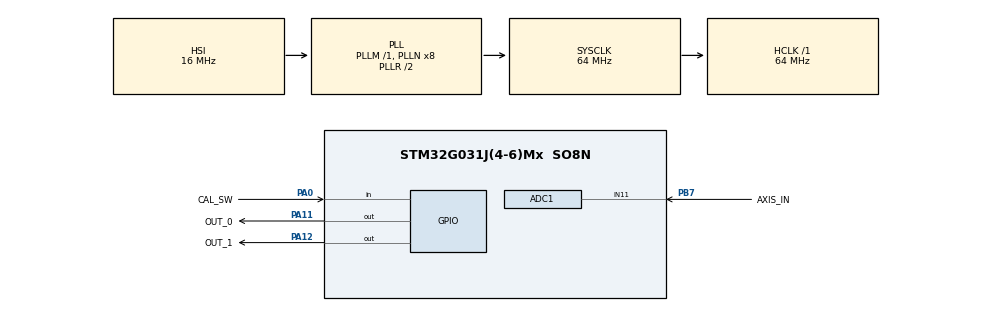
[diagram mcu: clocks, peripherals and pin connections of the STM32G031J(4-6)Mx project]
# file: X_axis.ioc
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ADC1.Channel-0\#ChannelRegularConversion=ADC_CHANNEL_11
ADC1.ContinuousConvMode=ENABLE
ADC1.NbrOfConversionFlag=1
ADC1.OversamplingMode=ENABLE
ADC1.Rank-0\#ChannelRegularConversion=1
ADC1.Ratio=ADC_OVERSAMPLING_RATIO_4
ADC1.RightBitShift=ADC_RIGHTBITSHIFT_2
ADC1.SamplingTime-0\#ChannelRegularConversion=ADC_SAMPLINGTIME_COMMON_1
ADC1.master=1
Mcu.Family=STM32G0
Mcu.Name=STM32G031J(4-6)Mx
Mcu.Package=SO8N
PA0.GPIO_Label=CAL_SW
PA0.Signal=GPIO_Input
PA11\ [PA9].GPIO_Label=OUT_0
PA11\ [PA9].Signal=GPIO_Output
PA12\ [PA10].GPIO_Label=OUT_1
PA12\ [PA10].Signal=GPIO_Output
PA13.Mode=Serial_Wire
PA13.Signal=SYS_SWDIO
PA14-BOOT0.Mode=Serial_Wire
PA14-BOOT0.Signal=SYS_SWCLK
PB7.GPIO_Label=AXIS_IN
PB7.Mode=IN11
PB7.Signal=ADC1_IN11
ProjectManager.HeapSize=0x200
ProjectManager.StackSize=0x400
ProjectManager.TargetToolchain=STM32CubeIDE
RCC.ADCFreq_Value=64000000
RCC.AHBFreq_Value=64000000
RCC.CortexFreq_Value=64000000
RCC.EXTERNAL_CLOCK_VALUE=12288000
RCC.HCLKFreq_Value=64000000
RCC.HSE_VALUE=8000000
RCC.HSI_VALUE=16000000
RCC.LSE_VALUE=32768
RCC.SYSCLKFreq_VALUE=64000000
RCC.SYSCLKSource=RCC_SYSCLKSOURCE_PLLCLK
RCC.VCOOutputFreq_Value=128000000
board=custom

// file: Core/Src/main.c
/* USER CODE BEGIN Header */
/**
  ******************************************************************************
  * @file           : main.c
  * @brief          : Main program body v5 for X axis processor
  ******************************************************************************
  ******************************************************************************
  * All the code OUTSIDE the "USER CODE" blocks is copyrighted as follows:
  *
  * Copyright (c) 2020 STMicroelectronics
  * All rights reserved
  *
  * This software component is licensed by ST under BSD 3-Clause license,
  * the "License"; You may not use this file except in compliance with the
  * License. You may obtain a copy of the License at:
  *                        opensource.org/licenses/BSD-3-Clause
  *
  ******************************************************************************
  *
  * All the code INSIDE the "USER CODE" blocks is copyrighted as follows:
  *
  * Copyright (c) 2020 Lorenzo Iori
  *
  * This program is free software: you can redistribute it and/or modify
  * it under the terms of the GNU General Public License as published by
  * the Free Software Foundation, either version 3 of the License, or
  * (at your option) any later version.
  *
  * This program is distributed in the hope that it will be useful,
  * but WITHOUT ANY WARRANTY; without even the implied warranty of
  * MERCHANTABILITY or FITNESS FOR A PARTICULAR PURPOSE.  See the
  * GNU General Public License for more details.
  *
  * You should have received a copy of the GNU General Public License
  * along with this program.  If not, see <http://www.gnu.org/licenses/>.
  */
/* USER CODE END Header */

#include "main.h"
#include "math.h"

/* USER CODE BEGIN PD */
#define MAX_RANGE    	83			//Maximum number of steps in every direction
#define MAX_RANGE_EXT 	100			//Maximum number of steps in every direction (ext)
#define DEADZONE      	250			//Area that will be ignored (0-2048)
#define AVG_PRECISION	128			//Number of averaged measurements for every getValue()
/* USER CODE END PD */

ADC_HandleTypeDef hadc1;

void SystemClock_Config(void);
static void MX_GPIO_Init(void);
static void MX_ADC1_Init(void);
/* USER CODE BEGIN PFP */
int16_t 	getCalFlashSlot		(void);
void 		calibration			(uint8_t, uint8_t);
void 		draw			    (int16_t);
void 		writeToFlash	  	(uint32_t, uint32_t, uint8_t);
void 		eraseFlash 		  	(void);
uint16_t 	getValue		    (void);
void		rotateLeft 		  	(volatile uint32_t*);
void		rotateRight 	  	(volatile uint32_t*);
void		swdioInput      	(void);
uint16_t	getValueKalman		(float*, float*, float*, float*);
void		kalWait				(uint16_t, float*, float*, float*, float*);

/* USER CODE END PFP */

/* USER CODE BEGIN 0 */
volatile uint32_t* FLASH_SR  	  = (uint32_t*)0x40022010;  //MEMORY ADDRESSES
volatile uint32_t* FLASH_CR  	  = (uint32_t*)0x40022014;
volatile uint32_t* PAGE15_SLOT1   = (uint32_t*)0x08007800;
volatile uint32_t* GPIOA_IDR 	  = (uint32_t*)0x50000010;
volatile uint32_t* GPIOB_IDR 	  = (uint32_t*)0x50000410;
volatile uint32_t* GPIOA_ODR 	  = (uint32_t*)0x50000014;
volatile uint32_t* ADC_ISR 		  = (uint32_t*)0x40012400;
volatile uint32_t* ADC_DR 		  = (uint32_t*)0x40012440;
/* USER CODE END 0 */

int main(void)
{

  /* MCU Configuration--------------------------------------------------------*/

  /*Reset of all peripherals, Initializes the Flash interface and the Systick.*/
  HAL_Init();

  /* Configure the system clock */
  SystemClock_Config();

  /* Initialize all configured peripherals */
  MX_GPIO_Init();
  MX_ADC1_Init();
  /* USER CODE BEGIN 2 */
  HAL_ADC_Start(&hadc1);
  //The next line configures the output register with the bit wheel
  *GPIOA_ODR = (*GPIOA_ODR & 0xFFFF0000) + 0x6600;
  uint16_t calSwRead = (uint16_t)(*GPIOA_IDR) & 0x1; //calSw = GPIOA_PIN0 status
  uint8_t  calSw = 0;
  if (calSwRead) calSw = 1;
  int16_t 	calFlashSlot = getCalFlashSlot();

  //If getCalFlashSlot returns -1 it means there is no calibration data stored
  if (calFlashSlot == -1) calibration(calSw, 0);

  //If it returns 255 it means the memory is full. Erase + calibration needed.
  if (calFlashSlot == 255){
    eraseFlash();
    calibration(calSw, 0);
  }
  uint32_t 	w1 = *(PAGE15_SLOT1 + ((calFlashSlot)*2));
  uint32_t 	w2 = *(PAGE15_SLOT1 + ((calFlashSlot)*2) + 1);
  uint16_t 	w1a = (uint16_t)(w1>>16);
  uint16_t 	neutral16 = (uint16_t) w1;
  uint16_t 	calFactAInt = (uint16_t)(w2>>16);
  uint16_t 	calFactBInt = (uint16_t) w2;
  uint16_t 	min = w1a & 0x7FFF;
  uint8_t  	calSwOld = (uint8_t)(w1a >> 15);
  if (calSwOld != calSw){
  	calFlashSlot++;
    calibration(calSw, (uint8_t)calFlashSlot);
  }
  float    	calFactA = (float)calFactAInt / 10000;
  float    	calFactB = (float)calFactBInt / 10000;

  uint16_t 	value16, value16Old, value16Raw;
  float		valueFloat = 0;
  int16_t 	steps = 0;
  uint16_t	stepScale = 0;
  value16Old = 2048;
  value16Raw = getValue();
  if (value16Raw < 1500 || value16Raw > 2500){
	  stepScale = 4096 / (MAX_RANGE_EXT * 2);
  } else {
	  stepScale = 4096 / (MAX_RANGE * 2);
  }
  HAL_Delay(1000);
    /* USER CODE END 2 */

    /* Infinite loop */
    /* USER CODE BEGIN WHILE */
    while (1)
    {
  	  value16Raw = getValue();
  	  if (value16Raw < neutral16){
  		  if (value16Raw < min) value16Raw = min;
  		  valueFloat = value16Raw - min;
  		  valueFloat = valueFloat * calFactA;
  		  if (valueFloat >= (2048 - DEADZONE)) valueFloat = 2048 - DEADZONE;
  		  valueFloat = (valueFloat / (2048 - DEADZONE)) * 2048;
  		  value16 = (uint16_t)valueFloat;
  	  }
  	  else if (value16Raw == neutral16)	value16 = neutral16;
  	  else if (value16Raw > neutral16){
  		  valueFloat = value16Raw - neutral16;
  		  valueFloat = valueFloat * calFactB;
  		  if (valueFloat <= (DEADZONE)) valueFloat = DEADZONE;
  		  valueFloat = ((valueFloat - DEADZONE)/(2048 - DEADZONE))*2048;
  		  value16 = (uint16_t)valueFloat + 2048;
  	  }
  	  if (value16 > 4096) value16 = 4096;
  	  if (value16 < 0) value16 = 0;
  	  steps = steps + ((int16_t)value16 - value16Old);
  	  value16Old = value16;
  	  while (steps < -stepScale){
  		  rotateLeft(GPIOA_ODR);
  		  steps = steps + stepScale;
  	  }
  	  while (steps > stepScale){
  		  rotateRight(GPIOA_ODR);
  		  steps = steps - stepScale;
  	  }

    /* USER CODE END WHILE */

  }
}

void SystemClock_Config(void)
{
  RCC_OscInitTypeDef RCC_OscInitStruct = {0};
  RCC_ClkInitTypeDef RCC_ClkInitStruct = {0};
  RCC_PeriphCLKInitTypeDef PeriphClkInit = {0};

  /** Configure the main internal regulator output voltage
  */
  HAL_PWREx_ControlVoltageScaling(PWR_REGULATOR_VOLTAGE_SCALE1);
  /** Initializes the CPU, AHB and APB busses clocks
  */
  RCC_OscInitStruct.OscillatorType = RCC_OSCILLATORTYPE_HSI;
  RCC_OscInitStruct.HSIState = RCC_HSI_ON;
  RCC_OscInitStruct.HSIDiv = RCC_HSI_DIV1;
  RCC_OscInitStruct.HSICalibrationValue = RCC_HSICALIBRATION_DEFAULT;
  RCC_OscInitStruct.PLL.PLLState = RCC_PLL_ON;
  RCC_OscInitStruct.PLL.PLLSource = RCC_PLLSOURCE_HSI;
  RCC_OscInitStruct.PLL.PLLM = RCC_PLLM_DIV1;
  RCC_OscInitStruct.PLL.PLLN = 8;
  RCC_OscInitStruct.PLL.PLLP = RCC_PLLP_DIV2;
  RCC_OscInitStruct.PLL.PLLQ = RCC_PLLQ_DIV2;
  RCC_OscInitStruct.PLL.PLLR = RCC_PLLR_DIV2;
  if (HAL_RCC_OscConfig(&RCC_OscInitStruct) != HAL_OK)
  {
    Error_Handler();
  }
  /** Initializes the CPU, AHB and APB busses clocks
  */
  RCC_ClkInitStruct.ClockType = RCC_CLOCKTYPE_HCLK|RCC_CLOCKTYPE_SYSCLK
                              |RCC_CLOCKTYPE_PCLK1;
  RCC_ClkInitStruct.SYSCLKSource = RCC_SYSCLKSOURCE_PLLCLK;
  RCC_ClkInitStruct.AHBCLKDivider = RCC_SYSCLK_DIV1;
  RCC_ClkInitStruct.APB1CLKDivider = RCC_HCLK_DIV1;

  if (HAL_RCC_ClockConfig(&RCC_ClkInitStruct, FLASH_LATENCY_2) != HAL_OK)
  {
    Error_Handler();
  }
  /** Initializes the peripherals clocks
  */
  PeriphClkInit.PeriphClockSelection = RCC_PERIPHCLK_ADC;
  PeriphClkInit.AdcClockSelection = RCC_ADCCLKSOURCE_SYSCLK;
  if (HAL_RCCEx_PeriphCLKConfig(&PeriphClkInit) != HAL_OK)
  {
    Error_Handler();
  }
}

static void MX_ADC1_Init(void)
{

  ADC_AnalogWDGConfTypeDef AnalogWDGConfig = {0};
  ADC_ChannelConfTypeDef sConfig = {0};

  /*
    Configure the global features of the ADC
    (Clock, Resolution, Data Alignment and number of conversion)
  */
  hadc1.Instance = ADC1;
  hadc1.Init.ClockPrescaler = ADC_CLOCK_SYNC_PCLK_DIV2;
  hadc1.Init.Resolution = ADC_RESOLUTION_12B;
  hadc1.Init.DataAlign = ADC_DATAALIGN_RIGHT;
  hadc1.Init.ScanConvMode = ADC_SCAN_DISABLE;
  hadc1.Init.EOCSelection = ADC_EOC_SINGLE_CONV;
  hadc1.Init.LowPowerAutoWait = DISABLE;
  hadc1.Init.LowPowerAutoPowerOff = DISABLE;
  hadc1.Init.ContinuousConvMode = ENABLE;
  hadc1.Init.NbrOfConversion = 1;
  hadc1.Init.DiscontinuousConvMode = DISABLE;
  hadc1.Init.ExternalTrigConv = ADC_SOFTWARE_START;
  hadc1.Init.ExternalTrigConvEdge = ADC_EXTERNALTRIGCONVEDGE_NONE;
  hadc1.Init.DMAContinuousRequests = DISABLE;
  hadc1.Init.Overrun = ADC_OVR_DATA_PRESERVED;
  hadc1.Init.SamplingTimeCommon1 = ADC_SAMPLETIME_1CYCLE_5;
  hadc1.Init.SamplingTimeCommon2 = ADC_SAMPLETIME_1CYCLE_5;
  hadc1.Init.OversamplingMode = ENABLE;
  hadc1.Init.Oversampling.Ratio = ADC_OVERSAMPLING_RATIO_4;
  hadc1.Init.Oversampling.RightBitShift = ADC_RIGHTBITSHIFT_2;
  hadc1.Init.Oversampling.TriggeredMode = ADC_TRIGGEREDMODE_SINGLE_TRIGGER;
  hadc1.Init.TriggerFrequencyMode = ADC_TRIGGER_FREQ_HIGH;
  if (HAL_ADC_Init(&hadc1) != HAL_OK)
  {
    Error_Handler();
  }
  /** Configure Analog WatchDog 2
  */
  AnalogWDGConfig.WatchdogMode = ADC_ANALOGWATCHDOG_SINGLE_REG;
  if (HAL_ADC_AnalogWDGConfig(&hadc1, &AnalogWDGConfig) != HAL_OK)
  {
    Error_Handler();
  }
  /** Configure Regular Channel
  */
  sConfig.Channel = ADC_CHANNEL_11;
  sConfig.Rank = ADC_REGULAR_RANK_1;
  sConfig.SamplingTime = ADC_SAMPLINGTIME_COMMON_1;
  if (HAL_ADC_ConfigChannel(&hadc1, &sConfig) != HAL_OK)
  {
    Error_Handler();
  }
  /* USER CODE BEGIN ADC1_Init 2 */
  HAL_ADCEx_Calibration_Start(&hadc1);
  /* USER CODE END ADC1_Init 2 */

}

static void MX_GPIO_Init(void)
{
  GPIO_InitTypeDef GPIO_InitStruct = {0};

  /* GPIO Ports Clock Enable */
  __HAL_RCC_GPIOB_CLK_ENABLE();
  __HAL_RCC_GPIOA_CLK_ENABLE();

  /*Configure GPIO pin Output Level */
  HAL_GPIO_WritePin(GPIOA, OUT_0_Pin|OUT_1_Pin, GPIO_PIN_RESET);

  /*Configure GPIO pin : CAL_SW_Pin */
  GPIO_InitStruct.Pin = CAL_SW_Pin;
  GPIO_InitStruct.Mode = GPIO_MODE_INPUT;
  GPIO_InitStruct.Pull = GPIO_NOPULL;
  HAL_GPIO_Init(CAL_SW_GPIO_Port, &GPIO_InitStruct);

  /*Configure GPIO pins : OUT_0_Pin OUT_1_Pin */
  GPIO_InitStruct.Pin = OUT_0_Pin|OUT_1_Pin;
  GPIO_InitStruct.Mode = GPIO_MODE_OUTPUT_PP;
  GPIO_InitStruct.Pull = GPIO_NOPULL;
  GPIO_InitStruct.Speed = GPIO_SPEED_FREQ_LOW;
  HAL_GPIO_Init(GPIOA, &GPIO_InitStruct);

}

/* USER CODE BEGIN 4 */

//Find the FLASH memory slot currently in use
int16_t getCalFlashSlot(void){
	int16_t i = 0;
	uint32_t data = *PAGE15_SLOT1;
	while (((data != 0xFFFFFFFF) && i < 256)){
		i++;
		data = *(PAGE15_SLOT1 + i*2);
	}
	return i-1;
}
//Calibration 4.0
void calibration(uint8_t calSw, uint8_t calFlashSlot){

//PHASE 1 - Calculating neutral value
uint32_t 	i=0, neutral32=0, w1=0xFFFFFFFF,w2=0xFFFFFFFF;
uint16_t 	value16=0, count=0, neutralAverage=0, neutralAverageOld=0;
uint16_t  	max=0, min=0, MCU_OK=0;
uint16_t 	w1a=0xFFFF, w1b=0xFFFF, w2a=0xFFFF, w2b=0xFFFF;
uint8_t		neutralOK=0;
int8_t		dir=0;
float		calFactA=0.0, calFactB=0.0;

//Kalman filter variables definition
float 		kal_est_e = 2.0, kal_mea_e = 2.0, kal_q = 0.01;
float		kal_last_est = (float) getValue();

HAL_Delay(5000);

swdioInput();

//Set GPIOA_PIN11 and PIN12 HIGH to communicate that MCU is ready to proceed
*GPIOA_ODR = (*GPIOA_ODR & 0xFFFF0000) + 0x1800;

//Wait until GPIOA_PIN13 becomes 1 - both MCUs are ready to proceed
i=0;
while (i<1000){
	while (!MCU_OK){
		i=0;
		MCU_OK = (uint16_t)(*GPIOA_IDR) & 0x2000;
	}
	i++;
	HAL_Delay(1);
	MCU_OK = (uint16_t)(*GPIOA_IDR) & 0x2000;
}
kalWait(700, &kal_est_e, &kal_mea_e, &kal_last_est, &kal_q);

//The next line reconfigures the output register with the bit wheel
*GPIOA_ODR = (*GPIOA_ODR & 0xFFFF0000) + 0x6600;

MCU_OK = 0;
draw(3);

value16 = getValueKalman(&kal_est_e, &kal_mea_e, &kal_last_est, &kal_q);

while (value16<1600 || value16>2400){   //Wait for joystick to be centered
	value16 = getValueKalman(&kal_est_e, &kal_mea_e, &kal_last_est, &kal_q);
}
//Step 1.1 - Pull the stick to any corner and let go until neutral is OK
while (neutralOK<3){
	count++;
	while (value16>1500 && value16<2500){  //Wait for joystick to be moved
		value16 = getValueKalman(&kal_est_e, &kal_mea_e, &kal_last_est, &kal_q);
	}
	kalWait(1300, &kal_est_e, &kal_mea_e, &kal_last_est, &kal_q);
	value16 = getValueKalman(&kal_est_e, &kal_mea_e, &kal_last_est, &kal_q);
	if (value16>2500) dir=1;
	else if (value16<1500) dir=-1;
	while (value16<1600 || value16>2400){  //Wait for joystick to return centered
		value16 = getValueKalman(&kal_est_e, &kal_mea_e, &kal_last_est, &kal_q);
	}
	kalWait(1300, &kal_est_e, &kal_mea_e, &kal_last_est, &kal_q);	//Wait for spring to stabilize
	value16 = getValueKalman(&kal_est_e, &kal_mea_e, &kal_last_est, &kal_q);
	neutral32 = neutral32 + value16;	 //Add current neutral reading to pool
	neutralAverage = (neutral32/count);
	if (neutralAverage == neutralAverageOld) neutralOK++;
	else neutralOK = 0;
	neutralAverageOld = neutralAverage;
	if (dir==1) 		draw(-2);
	else if (dir==-1) 	draw(-3);
}
//Set GPIOA_PIN11 and PIN12 HIGH to communicate that MCU is ready to proceed
*GPIOA_ODR = (*GPIOA_ODR & 0xFFFF0000) + 0x1800;

//Wait until GPIOA_PIN13 becomes 1 - both MCUs are ready to proceed
i=0;
while (i<1000){
	while (!MCU_OK){
		i=0;
		MCU_OK = (uint16_t)(*GPIOA_IDR) & 0x2000;
	}
	i++;
	HAL_Delay(1);
	MCU_OK = (uint16_t)(*GPIOA_IDR) & 0x2000;
}

kalWait(700, &kal_est_e, &kal_mea_e, &kal_last_est, &kal_q);

//The next line reconfigures the output register with the bit wheel
*GPIOA_ODR = (*GPIOA_ODR & 0xFFFF0000) + 0x6600;

MCU_OK = 0;
draw(3);
//PHASE 2 - Calculating min and max while the stick is rotated
min = neutralAverage;
max = neutralAverage;
for (i=0; i<100000; i++){
	value16 = getValueKalman(&kal_est_e, &kal_mea_e, &kal_last_est, &kal_q);
	if (value16 > max){
		max = value16;
	}else if(value16 < min){
		min = value16;
	}
}
//PHASE 3 - Calculating calFactA and calFactB
calFactA = ((float)2047) / (neutralAverage - min);
calFactB = ((float)2048) / (max - neutralAverage);
//PHASE 4 - Calculating w1 and w2 and write to flash
/* Calibration data structure:

	w1 = 						w1a								  w1b
				|--1bit--|---------15bit----------|---------------16bit---------------|
				  calSw				min							neutral16

	w2 =						w2a									w2b
				|--------------16bit--------------|---------------16bit---------------|
							 calFactA							calFactB
*/
w1a = min + ((uint16_t)calSw << 15);
w1b = neutralAverage;
w2a = (uint16_t)(calFactA * 10000);
w2b = (uint16_t)(calFactB * 10000);
w1 = ((uint32_t)w1a << 16) + w1b;
w2 = ((uint32_t)w2a << 16) + w2b;
writeToFlash(w1, w2, calFlashSlot);

//Set GPIOA_PIN11 and PIN12 HIGH to communicate that MCU is ready to proceed
*GPIOA_ODR = (*GPIOA_ODR & 0xFFFF0000) + 0x1800;

//Wait until GPIOA_PIN13 becomes 1 - both MCUs are ready to proceed
i=0;
while (i<1000){
	while (!MCU_OK){
		i=0;
		MCU_OK = (uint16_t)(*GPIOA_IDR) & 0x2000;
	}
	i++;
	HAL_Delay(1);
	MCU_OK = (uint16_t)(*GPIOA_IDR) & 0x2000;
}

HAL_Delay(100);

//The next line reconfigures the output register with the bit wheel
*GPIOA_ODR = (*GPIOA_ODR & 0xFFFF0000) + 0x6600;

MCU_OK = 0;
draw(-1);
}

//Move the cursor in a waving pattern for n times
void draw(int16_t n){
	uint8_t  i=0;
  uint16_t j=0;
  //if times_to_repeat = -1 loop indefinitely
  if (n == -1){
    while(1){
      for (i=0; i<40; i++){
  			rotateRight(GPIOA_ODR);
  			HAL_Delay(1);
  		}
  		HAL_Delay(500);
  		for (i=0; i<40; i++){
  			rotateLeft(GPIOA_ODR);
  			HAL_Delay(1);
  		}
  		for (i=0; i<40; i++){
  			rotateLeft(GPIOA_ODR);
  			HAL_Delay(1);
  		}
  		HAL_Delay(500);
  		for (i=0; i<40; i++){
  			rotateRight(GPIOA_ODR);
  			HAL_Delay(1);
  		}
    }
  }
  //if times_to_repeat = -2 perform a quick draw cycle to the right
  if (n == -2){
		  for (i=0; i<20; i++){
			  rotateRight(GPIOA_ODR);
			  HAL_Delay(1);
		  }
		  HAL_Delay(100);
		  for (i=0; i<20; i++){
			  rotateLeft(GPIOA_ODR);
			  HAL_Delay(1);
		  }
  }
  //if times_to_repeat = -3 perform a quick draw cycle to the left
  if (n == -3){
 		  for (i=0; i<20; i++){
 			  rotateLeft(GPIOA_ODR);
 			  HAL_Delay(1);
 		  }
 		  HAL_Delay(100);
 		  for (i=0; i<20; i++){
 			  rotateRight(GPIOA_ODR);
 			  HAL_Delay(1);
 		  }
   }
  //otherwise loop n times
  else {
  	for (j=0; j<n; j++){
  		for (i=0; i<40; i++){
  			rotateRight(GPIOA_ODR);
  			HAL_Delay(1);
  		}
  		HAL_Delay(500);
  		for (i=0; i<40; i++){
  			rotateLeft(GPIOA_ODR);
  			HAL_Delay(1);
  		}
  		for (i=0; i<40; i++){
  			rotateLeft(GPIOA_ODR);
  			HAL_Delay(1);
  		}
  		HAL_Delay(500);
  		for (i=0; i<40; i++){
  			rotateRight(GPIOA_ODR);
  			HAL_Delay(1);
  		}
  	}
  }
}

//Write data into MCU flash memory
void writeToFlash(uint32_t w1, uint32_t w2, uint8_t calFlashSlot){

	HAL_FLASH_Unlock();
	while (*FLASH_SR&(1<<16));          			    //wait for BSY1 flag to be 0
	*FLASH_SR = *FLASH_SR & 0x00050000; 			    //reset all flash error flags
	while (*FLASH_SR&(1<<18));          			    //wait for CFGBSY1 flag to be 0
	*FLASH_CR = *FLASH_CR | 0x01; 					      //set PG flag
	*(PAGE15_SLOT1 + (calFlashSlot*2)) = w1;      //write w1 into Flash
	__ISB();				//Ensures that the two 32bit words are not merged by compiler
	*(PAGE15_SLOT1 + (calFlashSlot*2) + 1) = w2;  //write w2 into Flash
	while (*FLASH_SR&(1<<16));          			    //wait for BSY1 flag to be 0
	while (*FLASH_SR&(1<<18));          			    //wait for CFGBSY1 flag to be 0
	*FLASH_CR = *FLASH_CR & 0xFFFFFFFE;			     	//reset PG flag
	HAL_FLASH_Lock();
}

//Erase all data in pages 15 and 16 of MCU flash memory
void eraseFlash (void){
	HAL_FLASH_Unlock();
	while (*FLASH_SR&(1<<16));          	//wait for BSY1 flag to be 0
	*FLASH_SR = *FLASH_SR & 0x00050000; 	//reset all flash error flags
	*FLASH_CR = *FLASH_CR & 0xC0000000; 	//reset page erase and number flags
	*FLASH_CR = *FLASH_CR | 0x7A; 				//set page erase flag and page number 15
	*FLASH_CR = *FLASH_CR | (1<<16);    	//set start flag
	while (*FLASH_SR&(1<<16));          	//wait for BSY1 flag to be 0
	*FLASH_CR = *FLASH_CR & 0xC0000000; 	//reset page erase and number flags
	HAL_FLASH_Lock();
}

//Wait till new value is available from ADC data register and read it
uint16_t getValue(void){
  uint32_t value = 0;
  uint16_t i;
  for (i=0; i<AVG_PRECISION; i++){
	while (!(*ADC_ISR & 1<<3));
	value = value + (uint16_t)(*ADC_DR);
  }
  value = value / AVG_PRECISION;
  return (uint16_t) value;
}

//Simulate an optical disc rotation (LEFT)
void rotateLeft (volatile uint32_t* GPIOA_ODR){
	uint8_t result, data;
	data = (uint8_t)(*(GPIOA_ODR)>>8);
	if ( data & 1<<7 ){
		result = (data<<1)|(1<<0);
	}else{
		result = (data<<1);
	}
	*GPIOA_ODR = (*GPIOA_ODR & 0xFFFF00FF) + ((uint16_t)result << 8);
}

//Simulate an optical disc rotation (RIGHT)
void rotateRight (volatile uint32_t* GPIOA_ODR){
	uint8_t result, data;
	data = (uint8_t)(*(GPIOA_ODR)>>8);
	if ( data & (1<<0) ){
		result = (data>>1)|(1<<7);
	}else{
		result = (data>>1);
	}
	*GPIOA_ODR = (*GPIOA_ODR & 0xFFFF00FF) + ((uint16_t)result << 8);
}

//Configure SWDIO pin (GPIOA_PIN13) as input
void swdioInput (void){
  GPIO_InitTypeDef GPIO_InitStruct = {0};
  GPIO_InitStruct.Pin  = GPIO_PIN_13;
  GPIO_InitStruct.Mode = GPIO_MODE_INPUT;
  GPIO_InitStruct.Pull = GPIO_PULLDOWN;
  HAL_GPIO_Init(GPIOA, &GPIO_InitStruct);
}

uint16_t getValueKalman(float* est_e, float* mea_e, float* last_est, float* q){

	float kal_gain, est;

	kal_gain = (*est_e) / ((*est_e) + (*mea_e));
	est = (*last_est) + (kal_gain * (getValue() - (*last_est)));
	(*est_e) = ((1.0 - kal_gain) * (*est_e)) + (fabs((*last_est) - est) * (*q));
	(*last_est) = est;
	return (uint16_t)(est + 0.5);
}

void kalWait(uint16_t times, float* est_e, float* mea_e, float* last_est, float* q){
	uint16_t i;
	for (i=0; i<times; i++){
	getValueKalman(est_e, mea_e, last_est, q);
	}
}

/* USER CODE END 4 */

void Error_Handler(void)
{
}

/*******************************END OF FILE************************************/
